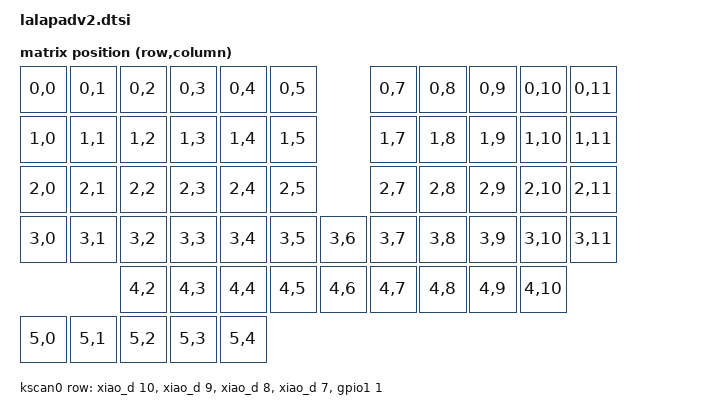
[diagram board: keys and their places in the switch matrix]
#include <dt-bindings/zmk/keys.h>
#include <dt-bindings/zmk/matrix_transform.h>
#include <dt-bindings/zmk/input_transform.h>
#include <zephyr/dt-bindings/input/input-event-codes.h>
#include <input/processors.dtsi>
#include "lalapadv2-layouts.dtsi"

#define POS_TP_LEFT  54
#define POS_TP_RIGHT 55
#define POS_TP_UP    56
#define POS_TP_DOWN  57
#define POS_TP_PINCH 58

/ {
    chosen {
        zmk,physical-layout = &lalapadv2_physical_layout;
    };

    default_transform: keymap_transform_0 {
        compatible = "zmk,matrix-transform";
        columns = <12>;
        rows = <6>;
        map = <
            RC(0,0)	RC(0,1)	RC(0,2)	RC(0,3)	RC(0,4)	RC(0,5)		    RC(0,7)	RC(0,8)	RC(0,9)	RC(0,10) RC(0,11)
            RC(1,0)	RC(1,1)	RC(1,2)	RC(1,3)	RC(1,4)	RC(1,5)		    RC(1,7)	RC(1,8)	RC(1,9)	RC(1,10) RC(1,11)
            RC(2,0)	RC(2,1)	RC(2,2)	RC(2,3)	RC(2,4)	RC(2,5)		    RC(2,7)	RC(2,8)	RC(2,9)	RC(2,10) RC(2,11)
            RC(3,0)	RC(3,1)	RC(3,2)	RC(3,3)	RC(3,4)	RC(3,5)	RC(3,6)	RC(3,7)	RC(3,8)	RC(3,9)	RC(3,10) RC(3,11)
                            RC(4,2)	RC(4,3)	RC(4,4)	RC(4,5)	RC(4,6)	RC(4,7)	RC(4,8)	RC(4,9)	RC(4,10)	
            RC(5,0)	RC(5,1) RC(5,2)	RC(5,3)	RC(5,4)	
        >;
    };

    kscan0: kscan {
        compatible = "zmk,kscan-gpio-matrix";
        wakeup-source;

        diode-direction = "col2row";
        row-gpios
            = <&xiao_d 10 (GPIO_ACTIVE_HIGH | GPIO_PULL_DOWN)> 
            , <&xiao_d 9 (GPIO_ACTIVE_HIGH | GPIO_PULL_DOWN)>
            , <&xiao_d 8 (GPIO_ACTIVE_HIGH | GPIO_PULL_DOWN)>
            , <&xiao_d 7 (GPIO_ACTIVE_HIGH | GPIO_PULL_DOWN)>
            , <&gpio1  1 (GPIO_ACTIVE_HIGH | GPIO_PULL_DOWN)>
            ;
    };

    // Encoders
    left_encoder: left_encoder {
        compatible = "alps,ec11";
        status = "disabled";
    };
    sensors: sensors {
        compatible = "zmk,keymap-sensors";
        sensors = <&left_encoder>;
        triggers-per-rotation = <10>;
    };

    // Input Listners
    split_inputs_R {
        #address-cells = <1>;
        #size-cells = <0>;

        trackpad_split_R: trackpad_split_R@0 {
            compatible = "zmk,input-split";
            reg = <0>;
        };
    };
    split_inputs_L {
        #address-cells = <1>;
        #size-cells = <0>;

        trackpad_split_L: trackpad_split_L@1 {
            compatible = "zmk,input-split";
            reg = <1>;
        };
    };

    trackpad_key_behaviors: trackpad_key_behaviors {
        compatible = "zmk,input-processor-behaviors";
        #input-processor-cells = <0>;
        type = <INPUT_EV_KEY>;
        codes = <INPUT_KEY_F13 INPUT_KEY_F14 INPUT_KEY_F15 INPUT_KEY_F16 INPUT_KEY_F17>;
        bindings = <
                    &tp_to_pos  POS_TP_LEFT
                    &tp_to_pos  POS_TP_RIGHT
                    &tp_to_pos  POS_TP_UP
                    &tp_to_pos  POS_TP_DOWN
                    &tp_to_pos  POS_TP_PINCH
                    >;
    };
    
    zip_dynamic_xy_scaler: zip_dynamic_xy_scaler {
        compatible = "zmk,input-processor-dynamic-scaler";
        #input-processor-cells = <0>;
        type = <INPUT_EV_REL>;
        codes = <INPUT_REL_X INPUT_REL_Y>;
        track-remainders;
    };

    zip_dynamic_scroll_scaler: zip_dynamic_scroll_scaler {
        compatible = "zmk,input-processor-dynamic-scaler";
        #input-processor-cells = <0>;
        type = <INPUT_EV_REL>;
        codes = <INPUT_REL_WHEEL INPUT_REL_HWHEEL>;
        track-remainders;
    };

    trackpad_listener_R: trackpad_listener_R {
        compatible = "zmk,input-listener";
        status = "disabled";
        device = <&trackpad_split_R>;
        input-processors = <&trackpad_key_behaviors>,
                           <&zip_xy_scaler 1 5>,
                           <&zip_scroll_scaler 1 12>,
                           <&zip_dynamic_xy_scaler>,
                           <&zip_dynamic_scroll_scaler>;
        lowspeedmode {
            layers = <1>,<2>;
            input-processors =  <&trackpad_key_behaviors>,
                                <&zip_xy_scaler 1 10>,
                                <&zip_scroll_scaler 1 40>,
                                <&zip_dynamic_xy_scaler>,
                                <&zip_dynamic_scroll_scaler>;
        };
    };
    trackpad_listener_L: trackpad_listener_L {
        compatible = "zmk,input-listener";
        status = "disabled";
        device = <&trackpad_split_L>;
        input-processors = <&trackpad_key_behaviors>,
                           <&zip_xy_scaler 1 5>,
                           <&zip_scroll_scaler 1 12>,
                           <&zip_dynamic_xy_scaler>,
                           <&zip_dynamic_scroll_scaler>;
        lowspeedmode {
            layers = <1>,<2>;
            input-processors =  <&trackpad_key_behaviors>,
                                <&zip_xy_scaler 1 10>,
                                <&zip_scroll_scaler 1 40>,
                                <&zip_dynamic_xy_scaler>,
                                <&zip_dynamic_scroll_scaler>;
        };
    };
};

// TrackPad on I2C
&xiao_i2c {
    status = "okay";

    iqs9151: iqs9151@56 {
        compatible = "azoteq,iqs9151";
        reg = <0x56>;
        status = "okay";
        irq-gpios = <&xiao_d 6 (GPIO_ACTIVE_LOW | GPIO_PULL_UP)>;
        reset-gpios = <&xiao_d 10 GPIO_ACTIVE_LOW>;

    };
};
